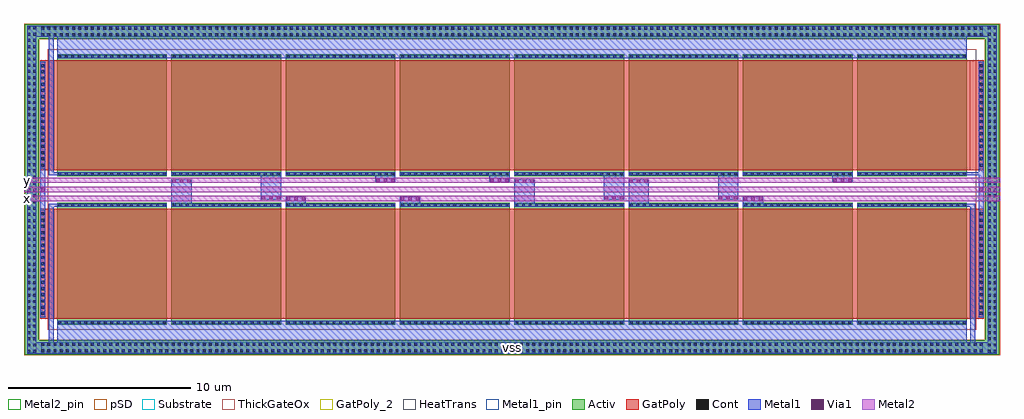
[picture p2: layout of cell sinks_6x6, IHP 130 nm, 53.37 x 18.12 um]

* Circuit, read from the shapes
.subckt sinks_6x6 vbn vss x y
XM1 vss vbn vss vss sg13_hv_nmos w=6u l=6u m=3
XM2 y vbn vss vss sg13_hv_nmos w=6u l=6u m=6
XM3 vss vbn x vss sg13_hv_nmos w=6u l=6u m=6
XM4 vss vbn vbn vss sg13_hv_nmos w=6u l=6u
.ends

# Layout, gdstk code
from math import pi, radians
import gdstk
lib = gdstk.Library(unit=1e-6, precision=1e-09)
def R(c, l, rs):  # rectangles x0, y0, x1, y1
    for r in rs: c.add(gdstk.rectangle(r[:2], r[2:], *l))
def A(c, l, x, y, w, h, nx, ny, dx, dy):  # array of equal rectangles
    R(c, l, [(x+i*dx, y+j*dy, x+i*dx+w, y+j*dy+h) for i in range(nx) for j in range(ny)])
Activ = (1, 0)
GatPoly = (5, 0)
GatPoly_2 = (5, 2)
Cont = (6, 0)
Metal1 = (8, 0)
Metal1_pin = (8, 2)
Metal2 = (10, 0)
Metal2_pin = (10, 2)
pSD = (14, 0)
Via1 = (19, 0)
Substrate = (40, 0)
ThickGateOx = (44, 0)
HeatTrans = (51, 0)

nmoshv = lib.new_cell('nmosHV')
R(nmoshv, Activ, [(0,0,0.3,0.3), (0,0,6.68,6), (6.38,0,6.68,0.3)])
R(nmoshv, GatPoly, [(0.34,-0.18,6.34,6.18)])
R(nmoshv, GatPoly_2, [(0.34,-0.18,6.34,6.18)])
A(nmoshv, Cont, 0.07, 0.07, 0.16, 0.16, 1, 4, 0, 0.355)
A(nmoshv, Cont, 6.45, 0.07, 0.16, 0.16, 1, 4, 0, 0.355)
A(nmoshv, Cont, 0.07, 1.495, 0.16, 0.16, 1, 4, 0, 0.355)
A(nmoshv, Cont, 6.45, 1.495, 0.16, 0.16, 1, 4, 0, 0.355)
A(nmoshv, Cont, 0.07, 2.92, 0.16, 0.16, 1, 4, 0, 0.355)
A(nmoshv, Cont, 6.45, 2.92, 0.16, 0.16, 1, 4, 0, 0.355)
A(nmoshv, Cont, 0.07, 4.345, 0.16, 0.16, 1, 4, 0, 0.355)
A(nmoshv, Cont, 6.45, 4.345, 0.16, 0.16, 1, 4, 0, 0.355)
R(nmoshv, Cont, [(0.07,5.77,0.23,5.93), (6.45,5.77,6.61,5.93)])
R(nmoshv, Metal1, [(0.07,0,0.23,6), (6.45,0,6.61,6)])
R(nmoshv, Metal1_pin, [(0.07,0,0.23,6), (6.45,0,6.61,6)])
R(nmoshv, ThickGateOx, [(-0.27,-0.52,6.95,6.52)])
R(nmoshv, HeatTrans, [(0.34,-0.18,6.34,6.18)])
nmoshv.add(gdstk.Label('nmosHV', (3.34,3), layer=63, texttype=0))
nmoshv.add(gdstk.Label('nmosHV', (3.34,3), layer=51, texttype=0))

sinks_6x6_row = lib.new_cell('sinks_6x6_row')
R(sinks_6x6_row, GatPoly, [(-0.93,0.34,-0.18,6.34), (49.93,0.34,50.68,6.34)])
A(sinks_6x6_row, Cont, -0.86, 0.54, 0.16, 0.16, 1, 17, 0, 0.34)
A(sinks_6x6_row, Cont, 50.45, 0.54, 0.16, 0.16, 1, 17, 0, 0.34)
R(sinks_6x6_row, Metal1, [(0,-1.545,49.75,0.23), (-0.91,0.41,-0.65,6.27), (50.4,0.41,50.66,6.27)])
R(sinks_6x6_row, Metal1_pin, [(0,-1.545,49.75,-0.945), (-0.91,0.41,-0.65,6.27), (50.4,0.41,50.66,6.27)])
r = gdstk.Reference(nmoshv, (0,0), rotation=pi/2, x_reflection=True); r.repetition = gdstk.Repetition(1, 8, v1=(0,0), v2=(6.25,0)); sinks_6x6_row.add(r)
sinks_6x6_row.add(gdstk.Label('SY', (9.25,3.34), layer=63, texttype=0))
sinks_6x6_row.add(gdstk.Label('SX', (15.5,3.34), layer=63, texttype=0))
sinks_6x6_row.add(gdstk.Label('SX', (21.75,3.34), layer=63, texttype=0))
sinks_6x6_row.add(gdstk.Label('SY', (28,3.34), layer=63, texttype=0))
sinks_6x6_row.add(gdstk.Label('SY', (34.25,3.34), layer=63, texttype=0))
sinks_6x6_row.add(gdstk.Label('SX', (40.5,3.34), layer=63, texttype=0))
sinks_6x6_row.add(gdstk.Label('vss', (24.875,-1.245), layer=8, texttype=25))
sinks_6x6_row.add(gdstk.Label('vbn', (-0.78,3.34), layer=8, texttype=25))
sinks_6x6_row.add(gdstk.Label('vbn', (50.53,3.34), layer=8, texttype=25))

ptap1_17 = lib.new_cell('ptap1$17')
R(ptap1_17, Activ, [(0,0,0.78,18.065)])
A(ptap1_17, Cont, 0.14, 0.11, 0.16, 0.16, 1, 53, 0, 0.34)
A(ptap1_17, Cont, 0.48, 0.11, 0.16, 0.16, 1, 53, 0, 0.34)
R(ptap1_17, Metal1, [(0.14,0.06,0.64,18), (0.14,0.11,0.64,17.95)])
R(ptap1_17, Metal1_pin, [(0.14,0.11,0.64,17.95)])
R(ptap1_17, pSD, [(-0.03,-0.03,0.81,18.095)])
R(ptap1_17, Substrate, [(0,0,0.78,18.065)])
ptap1_17.add(gdstk.Label('sub!', (0.39,0.01), layer=63, texttype=0))
ptap1_17.add(gdstk.Label('sub!', (0.39,0.01), layer=40, texttype=0))

ptap1_18 = lib.new_cell('ptap1$18')
R(ptap1_18, Activ, [(0,0,51.75,0.78)])
A(ptap1_18, Cont, 0.125, 0.14, 0.16, 0.16, 152, 2, 0.34, 0.34)
R(ptap1_18, Metal1, [(0.125,0.09,51.625,0.69), (0.125,0.14,51.625,0.64)])
R(ptap1_18, Metal1_pin, [(0.125,0.14,51.625,0.64)])
R(ptap1_18, pSD, [(-0.03,-0.03,51.78,0.81)])
R(ptap1_18, Substrate, [(0,0,51.75,0.78)])
ptap1_18.add(gdstk.Label('sub!', (25.875,0.01), layer=63, texttype=0))
ptap1_18.add(gdstk.Label('sub!', (25.875,0.01), layer=40, texttype=0))

sinks_6x6_wiring = lib.new_cell('sinks_6x6_wiring')
R(sinks_6x6_wiring, Metal1, [(-1.64,-1.575,51.39,-1.545), (-1.24,-1.545,-0.775,-0.945), (50.525,-1.545,50.99,-0.945), (-0.47,-1.045,-0.18,6.61), (49.93,-1.045,50.22,6.61), (-0.91,6.17,-0.65,8.625), (50.4,6.17,50.66,8.625), (-0.47,6.45,0.1,6.61), (6.25,6.45,7.36,7.965), (12.5,6.45,13.61,7.005), (18.75,6.45,19.86,7.005), (25,6.45,26.11,7.965), (31.25,6.45,32.36,7.965), (37.5,6.45,38.61,7.005), (49.65,6.45,50.22,6.61), (11.14,6.83,12.25,8.345), (29.89,6.83,31,8.345), (36.14,6.83,37.25,8.345), (17.39,7.795,18.5,8.345), (23.64,7.795,24.75,8.345), (42.39,7.795,43.5,8.345), (-0.47,8.185,-0.18,15.84), (-0.47,8.185,0.1,8.345), (49.65,8.185,50.66,8.345), (-1.24,15.74,-0.775,16.34), (50.525,15.74,50.99,16.34), (-1.64,16.34,51.39,16.365)])
A(sinks_6x6_wiring, Via1, 12.55, 6.805, 0.19, 0.19, 3, 1, 0.41, 0)
A(sinks_6x6_wiring, Via1, 18.8, 6.805, 0.19, 0.19, 3, 1, 0.41, 0)
A(sinks_6x6_wiring, Via1, 37.55, 6.805, 0.19, 0.19, 3, 1, 0.41, 0)
A(sinks_6x6_wiring, Via1, 11.19, 6.84, 0.19, 0.19, 3, 1, 0.41, 0)
A(sinks_6x6_wiring, Via1, 29.94, 6.84, 0.19, 0.19, 3, 1, 0.41, 0)
A(sinks_6x6_wiring, Via1, 36.19, 6.84, 0.19, 0.19, 3, 1, 0.41, 0)
A(sinks_6x6_wiring, Via1, 6.3, 7.765, 0.19, 0.19, 3, 1, 0.41, 0)
A(sinks_6x6_wiring, Via1, 25.05, 7.765, 0.19, 0.19, 3, 1, 0.41, 0)
A(sinks_6x6_wiring, Via1, 31.3, 7.765, 0.19, 0.19, 3, 1, 0.41, 0)
A(sinks_6x6_wiring, Via1, 17.44, 7.805, 0.19, 0.19, 3, 1, 0.41, 0)
A(sinks_6x6_wiring, Via1, 23.69, 7.805, 0.19, 0.19, 3, 1, 0.41, 0)
A(sinks_6x6_wiring, Via1, 42.44, 7.805, 0.19, 0.19, 3, 1, 0.41, 0)
R(sinks_6x6_wiring, Via1, [(-0.875,7.305,-0.685,7.495), (50.435,7.305,50.625,7.495)])
R(sinks_6x6_wiring, ThickGateOx, [(-0.52,6.62,50.27,8.175)])
sinks_6x6_wiring.add(gdstk.FlexPath([(-1.665,6.9),(51.415,6.9)], 0.29, ends="extended", simple_path=True, layer=10, datatype=0))  # Metal2
sinks_6x6_wiring.add(gdstk.FlexPath([(-1.665,7.4),(51.415,7.4)], 0.29, ends="extended", simple_path=True, layer=10, datatype=0))  # Metal2
sinks_6x6_wiring.add(gdstk.FlexPath([(-1.665,7.9),(51.415,7.9)], 0.29, ends="extended", simple_path=True, layer=10, datatype=0))  # Metal2
sinks_6x6_wiring.add(gdstk.Reference(ptap1_17, (-1.78,-1.635)))
sinks_6x6_wiring.add(gdstk.Reference(ptap1_17, (50.75,-1.635)))
sinks_6x6_wiring.add(gdstk.Reference(ptap1_18, (-1,15.65)))
sinks_6x6_wiring.add(gdstk.Reference(ptap1_18, (-1,-1.635)))
sinks_6x6_wiring.add(gdstk.Label('dummy', (3,3.34), layer=63, texttype=0))
sinks_6x6_wiring.add(gdstk.Label('dummy', (46.75,3.34), layer=63, texttype=0))
sinks_6x6_wiring.add(gdstk.Label('dummy', (3,11.455), layer=63, texttype=0))
sinks_6x6_wiring.add(gdstk.Label('BN', (46.75,11.455), layer=63, texttype=0))

sinks_6x6 = lib.new_cell('sinks_6x6')
R(sinks_6x6, Metal1_pin, [(-0.875,-1.545,50.625,-0.945)])
A(sinks_6x6, Metal2_pin, -1.81, 6.755, 0.4, 0.29, 1, 3, 0, 0.5)
sinks_6x6.add(gdstk.Reference(sinks_6x6_row, (0,0)))
sinks_6x6.add(gdstk.Reference(sinks_6x6_row, (49.75,14.795), rotation=pi))
sinks_6x6.add(gdstk.Reference(sinks_6x6_wiring, (0,0)))
sinks_6x6.add(gdstk.Label('vss', (24.875,-1.245), layer=8, texttype=25))
sinks_6x6.add(gdstk.Label('x', (-1.61,6.9), layer=10, texttype=25))
sinks_6x6.add(gdstk.Label('vbn', (-1.61,7.4), layer=10, texttype=25))
sinks_6x6.add(gdstk.Label('y', (-1.61,7.9), layer=10, texttype=25))

lib.write_gds('sinks_6x6.gds')
